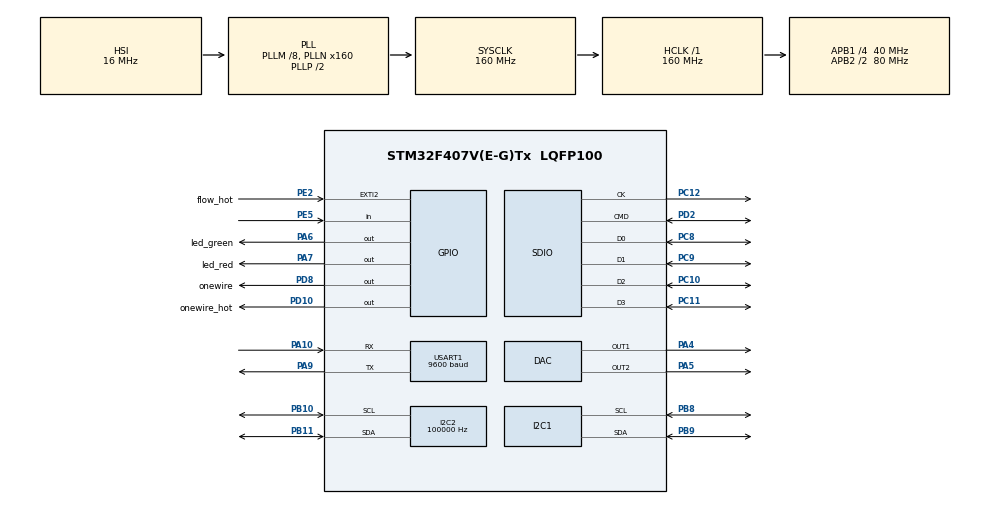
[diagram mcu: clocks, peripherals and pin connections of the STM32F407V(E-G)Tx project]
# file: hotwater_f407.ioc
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ADC1.Channel-0\#ChannelRegularConversion=ADC_CHANNEL_VBAT
ADC1.Channel-1\#ChannelRegularConversion=ADC_CHANNEL_TEMPSENSOR
ADC1.Channel-2\#ChannelRegularConversion=ADC_CHANNEL_VREFINT
ADC1.ContinuousConvMode=ENABLE
ADC1.DMAContinuousRequests=ENABLE
ADC1.EOCSelection=ADC_EOC_SEQ_CONV
ADC1.NbrOfConversion=3
ADC1.NbrOfConversionFlag=1
ADC1.Rank-0\#ChannelRegularConversion=1
ADC1.Rank-1\#ChannelRegularConversion=2
ADC1.Rank-2\#ChannelRegularConversion=3
ADC1.SamplingTime-0\#ChannelRegularConversion=ADC_SAMPLETIME_3CYCLES
ADC1.SamplingTime-1\#ChannelRegularConversion=ADC_SAMPLETIME_3CYCLES
ADC1.SamplingTime-2\#ChannelRegularConversion=ADC_SAMPLETIME_3CYCLES
ADC1.master=1
DAC.DAC_Trigger=DAC_TRIGGER_SOFTWARE
Dma.ADC1.1.Direction=DMA_PERIPH_TO_MEMORY
Dma.ADC1.1.FIFOMode=DMA_FIFOMODE_DISABLE
Dma.ADC1.1.Instance=DMA2_Stream0
Dma.ADC1.1.MemDataAlignment=DMA_MDATAALIGN_HALFWORD
Dma.ADC1.1.MemInc=DMA_MINC_ENABLE
Dma.ADC1.1.Mode=DMA_CIRCULAR
Dma.ADC1.1.PeriphDataAlignment=DMA_PDATAALIGN_HALFWORD
Dma.ADC1.1.PeriphInc=DMA_PINC_DISABLE
Dma.ADC1.1.Priority=DMA_PRIORITY_LOW
Dma.DAC1.0.Direction=DMA_MEMORY_TO_PERIPH
Dma.DAC1.0.FIFOMode=DMA_FIFOMODE_DISABLE
Dma.DAC1.0.Instance=DMA1_Stream5
Dma.DAC1.0.MemDataAlignment=DMA_MDATAALIGN_HALFWORD
Dma.DAC1.0.MemInc=DMA_MINC_ENABLE
Dma.DAC1.0.Mode=DMA_NORMAL
Dma.DAC1.0.PeriphDataAlignment=DMA_PDATAALIGN_HALFWORD
Dma.DAC1.0.PeriphInc=DMA_PINC_DISABLE
Dma.DAC1.0.Priority=DMA_PRIORITY_LOW
Dma.I2C1_RX.2.Direction=DMA_PERIPH_TO_MEMORY
Dma.I2C1_RX.2.FIFOMode=DMA_FIFOMODE_DISABLE
Dma.I2C1_RX.2.Instance=DMA1_Stream0
Dma.I2C1_RX.2.MemDataAlignment=DMA_MDATAALIGN_BYTE
Dma.I2C1_RX.2.MemInc=DMA_MINC_ENABLE
Dma.I2C1_RX.2.Mode=DMA_NORMAL
Dma.I2C1_RX.2.PeriphDataAlignment=DMA_PDATAALIGN_BYTE
Dma.I2C1_RX.2.PeriphInc=DMA_PINC_DISABLE
Dma.I2C1_RX.2.Priority=DMA_PRIORITY_LOW
Dma.I2C1_TX.3.Direction=DMA_MEMORY_TO_PERIPH
Dma.I2C1_TX.3.FIFOMode=DMA_FIFOMODE_DISABLE
Dma.I2C1_TX.3.Instance=DMA1_Stream6
Dma.I2C1_TX.3.MemDataAlignment=DMA_MDATAALIGN_BYTE
Dma.I2C1_TX.3.MemInc=DMA_MINC_ENABLE
Dma.I2C1_TX.3.Mode=DMA_NORMAL
Dma.I2C1_TX.3.PeriphDataAlignment=DMA_PDATAALIGN_BYTE
Dma.I2C1_TX.3.PeriphInc=DMA_PINC_DISABLE
Dma.I2C1_TX.3.Priority=DMA_PRIORITY_LOW
Dma.I2C2_RX.6.Direction=DMA_PERIPH_TO_MEMORY
Dma.I2C2_RX.6.FIFOMode=DMA_FIFOMODE_DISABLE
Dma.I2C2_RX.6.Instance=DMA1_Stream2
Dma.I2C2_RX.6.MemDataAlignment=DMA_MDATAALIGN_BYTE
Dma.I2C2_RX.6.MemInc=DMA_MINC_ENABLE
Dma.I2C2_RX.6.Mode=DMA_NORMAL
Dma.I2C2_RX.6.PeriphDataAlignment=DMA_PDATAALIGN_BYTE
Dma.I2C2_RX.6.PeriphInc=DMA_PINC_DISABLE
Dma.I2C2_RX.6.Priority=DMA_PRIORITY_LOW
Dma.I2C2_TX.7.Direction=DMA_MEMORY_TO_PERIPH
Dma.I2C2_TX.7.FIFOMode=DMA_FIFOMODE_DISABLE
Dma.I2C2_TX.7.Instance=DMA1_Stream7
Dma.I2C2_TX.7.MemDataAlignment=DMA_MDATAALIGN_BYTE
Dma.I2C2_TX.7.MemInc=DMA_MINC_ENABLE
Dma.I2C2_TX.7.Mode=DMA_NORMAL
Dma.I2C2_TX.7.PeriphDataAlignment=DMA_PDATAALIGN_BYTE
Dma.I2C2_TX.7.PeriphInc=DMA_PINC_DISABLE
Dma.I2C2_TX.7.Priority=DMA_PRIORITY_LOW
Dma.Request0=DAC1
Dma.Request1=ADC1
Dma.Request2=I2C1_RX
Dma.Request3=I2C1_TX
Dma.Request4=USART1_RX
Dma.Request5=USART1_TX
Dma.Request6=I2C2_RX
Dma.Request7=I2C2_TX
Dma.Request8=SDIO_RX
Dma.Request9=SDIO_TX
Dma.SDIO_RX.8.Direction=DMA_PERIPH_TO_MEMORY
Dma.SDIO_RX.8.FIFOMode=DMA_FIFOMODE_ENABLE
Dma.SDIO_RX.8.FIFOThreshold=DMA_FIFO_THRESHOLD_FULL
Dma.SDIO_RX.8.Instance=DMA2_Stream3
Dma.SDIO_RX.8.MemBurst=DMA_MBURST_INC4
Dma.SDIO_RX.8.MemDataAlignment=DMA_MDATAALIGN_WORD
Dma.SDIO_RX.8.MemInc=DMA_MINC_ENABLE
Dma.SDIO_RX.8.Mode=DMA_PFCTRL
Dma.SDIO_RX.8.PeriphBurst=DMA_PBURST_INC4
Dma.SDIO_RX.8.PeriphDataAlignment=DMA_PDATAALIGN_WORD
Dma.SDIO_RX.8.PeriphInc=DMA_PINC_DISABLE
Dma.SDIO_RX.8.Priority=DMA_PRIORITY_LOW
Dma.SDIO_TX.9.Direction=DMA_MEMORY_TO_PERIPH
Dma.SDIO_TX.9.FIFOMode=DMA_FIFOMODE_ENABLE
Dma.SDIO_TX.9.FIFOThreshold=DMA_FIFO_THRESHOLD_FULL
Dma.SDIO_TX.9.Instance=DMA2_Stream6
Dma.SDIO_TX.9.MemBurst=DMA_MBURST_INC4
Dma.SDIO_TX.9.MemDataAlignment=DMA_MDATAALIGN_WORD
Dma.SDIO_TX.9.MemInc=DMA_MINC_ENABLE
Dma.SDIO_TX.9.Mode=DMA_PFCTRL
Dma.SDIO_TX.9.PeriphBurst=DMA_PBURST_INC4
Dma.SDIO_TX.9.PeriphDataAlignment=DMA_PDATAALIGN_WORD
Dma.SDIO_TX.9.PeriphInc=DMA_PINC_DISABLE
Dma.SDIO_TX.9.Priority=DMA_PRIORITY_LOW
Dma.USART1_RX.4.Direction=DMA_PERIPH_TO_MEMORY
Dma.USART1_RX.4.FIFOMode=DMA_FIFOMODE_DISABLE
Dma.USART1_RX.4.Instance=DMA2_Stream2
Dma.USART1_RX.4.MemDataAlignment=DMA_MDATAALIGN_BYTE
Dma.USART1_RX.4.MemInc=DMA_MINC_ENABLE
Dma.USART1_RX.4.Mode=DMA_NORMAL
Dma.USART1_RX.4.PeriphDataAlignment=DMA_PDATAALIGN_BYTE
Dma.USART1_RX.4.PeriphInc=DMA_PINC_DISABLE
Dma.USART1_RX.4.Priority=DMA_PRIORITY_LOW
Dma.USART1_TX.5.Direction=DMA_MEMORY_TO_PERIPH
Dma.USART1_TX.5.FIFOMode=DMA_FIFOMODE_DISABLE
Dma.USART1_TX.5.Instance=DMA2_Stream7
Dma.USART1_TX.5.MemDataAlignment=DMA_MDATAALIGN_BYTE
Dma.USART1_TX.5.MemInc=DMA_MINC_ENABLE
Dma.USART1_TX.5.Mode=DMA_NORMAL
Dma.USART1_TX.5.PeriphDataAlignment=DMA_PDATAALIGN_BYTE
Dma.USART1_TX.5.PeriphInc=DMA_PINC_DISABLE
Dma.USART1_TX.5.Priority=DMA_PRIORITY_LOW
FATFS.BSP.number=1
FATFS.USE_DMA_CODE_SD=1
FATFS._MAX_LFN=32
FATFS._USE_LABEL=1
FATFS._USE_LFN=3
FATFS0.BSP.STBoard=false
FATFS0.BSP.api=Unknown
FATFS0.BSP.i2caddr=0
FATFS0.BSP.instance=PE5
FATFS0.BSP.ip=GPIO
FATFS0.BSP.mode=Input
FATFS0.BSP.name=Detect_SDIO
FATFS0.BSP.solution=PE5
FREERTOS.BinarySemaphores01=myFlagNewString,Static,myFlagNewStringControlBlock;myFlagNewEdgeFlowHot,Static,myFlagNewEdgeFlowHotControlBlock
FREERTOS.CountingSemaphores01=myCountNewString,16,Static,myCountNewStringControlBlock;myCountNewCmd,16,Static,myCountNewCmdControlBlock
FREERTOS.Events01=wtfHot,Dynamic,NULL;wtfCold,Dynamic,NULL
FREERTOS.HEAP_NUMBER=4
FREERTOS.Queues01=myTxQueue,1024,uint8_t,0,Static,myTxQueueBuffer,myTxQueueControlBlock;myRxQueue,1024,uint8_t,0,Static,myRxQueueBuffer,myRxQueueControlBlock;myLineObjQueue,16,64,1,Static,myLineObjQueueBuffer,myLineObjQueueControlBlock;myCmdLineObjQueue,16,64,1,Static,myCmdLineObjQueueBuffer,myCmdLineObjQueueControlBlock;myLogLineObjQueue,16,64,1,Static,myLogLineObjQueueBuffer,myLogLineObjQueueControlBlock;mySDwriteBufferLineObjQueue,8,64,1,Static,mySDwriteBufferLineObjQueueBuffer,mySDwriteBufferLineObjQueueControlBlock
FREERTOS.Tasks01=defaultTask,24,512,StartDefaultTask,Default,NULL,Static,defaultTaskBuffer,defaultTaskControlBlock;myRxTask,8,128,StartRxTask,Default,NULL,Static,myRxTaskBuffer,myRxTaskControlBlock;myTxTask,8,128,StartTxTask,Default,NULL,Static,myTxTaskBuffer,myTxTaskControlBlock;myCmdTask,8,512,StartCmdTask,Default,NULL,Static,myCmdTaskBuffer,myCmdTaskControlBlock;myLogUartTask,8,128,StartLogUartTask,Default,NULL,Static,myLogUartTaskBuffer,myLogUartTaskControlBlock;myLogSdTask,8,128,StartLogSdTask,Default,NULL,Static,myLogSdTaskBuffer,myLogSdTaskControlBlock;myFlowHotTask,8,1024,StartFlowHotTask,Default,NULL,Static,myFlowHotTaskBuffer,myFlowHotTaskControlBlock;myFlowColdTask,8,128,StartFlowColdTask,Default,NULL,Static,myFlowColdTaskBuffer,myFlowColdTaskControlBlock
FREERTOS.Timers01=myTimerFlowHot,myCallbackFlowHot,osTimerOnce,Default,NULL,Static,myTimerFlowHotControlBlock
FREERTOS.configCHECK_FOR_STACK_OVERFLOW=2
FREERTOS.configENABLE_FPU=1
FREERTOS.configGENERATE_RUN_TIME_STATS=1
FREERTOS.configRECORD_STACK_HIGH_ADDRESS=1
FREERTOS.configUSE_APPLICATION_TASK_TAG=1
FREERTOS.configUSE_DAEMON_TASK_STARTUP_HOOK=1
FREERTOS.configUSE_IDLE_HOOK=1
FREERTOS.configUSE_MALLOC_FAILED_HOOK=1
FREERTOS.configUSE_POSIX_ERRNO=1
FREERTOS.configUSE_STATS_FORMATTING_FUNCTIONS=1
FREERTOS.configUSE_TICKLESS_IDLE=0
FREERTOS.configUSE_TICK_HOOK=1
I2C1.I2C_Mode=I2C_Standard
I2C2.ClockSpeed=100000
I2C2.I2C_Mode=I2C_Standard
Mcu.Family=STM32F4
Mcu.Name=STM32F407V(E-G)Tx
Mcu.Package=LQFP100
NVIC.ADC_IRQn=true\:5\:0\:false\:false\:true\:true\:true\:true
NVIC.DMA1_Stream0_IRQn=true\:5\:0\:false\:false\:true\:true\:false\:true
NVIC.DMA1_Stream2_IRQn=true\:5\:0\:false\:false\:true\:true\:false\:true
NVIC.DMA1_Stream5_IRQn=true\:5\:0\:false\:false\:true\:true\:false\:true
NVIC.DMA1_Stream6_IRQn=true\:5\:0\:false\:false\:true\:true\:false\:true
NVIC.DMA1_Stream7_IRQn=true\:5\:0\:false\:false\:true\:true\:false\:true
NVIC.DMA2_Stream0_IRQn=true\:5\:0\:false\:false\:true\:true\:false\:true
NVIC.DMA2_Stream2_IRQn=true\:5\:0\:false\:false\:true\:true\:false\:true
NVIC.DMA2_Stream3_IRQn=true\:5\:0\:false\:false\:true\:true\:false\:true
NVIC.DMA2_Stream6_IRQn=true\:5\:0\:false\:false\:true\:true\:false\:true
NVIC.DMA2_Stream7_IRQn=true\:5\:0\:false\:false\:true\:true\:false\:true
NVIC.EXTI2_IRQn=true\:5\:0\:false\:false\:true\:true\:true\:true
NVIC.I2C1_ER_IRQn=true\:5\:0\:false\:false\:true\:true\:true\:true
NVIC.I2C1_EV_IRQn=true\:5\:0\:false\:false\:true\:true\:true\:true
NVIC.I2C2_ER_IRQn=true\:5\:0\:false\:false\:true\:true\:true\:true
NVIC.I2C2_EV_IRQn=true\:5\:0\:false\:false\:true\:true\:true\:true
NVIC.PriorityGroup=NVIC_PRIORITYGROUP_4
NVIC.SDIO_IRQn=true\:5\:0\:false\:false\:true\:true\:true\:true
NVIC.TIM1_UP_TIM10_IRQn=true\:0\:0\:false\:false\:true\:false\:false\:true
NVIC.TIM6_DAC_IRQn=true\:5\:0\:false\:false\:true\:true\:true\:true
NVIC.TimeBase=TIM1_UP_TIM10_IRQn
NVIC.TimeBaseIP=TIM1
NVIC.USART1_IRQn=true\:5\:0\:false\:false\:true\:true\:true\:true
PA10.Mode=Asynchronous
PA10.Signal=USART1_RX
PA13.Mode=Serial_Wire
PA13.Signal=SYS_JTMS-SWDIO
PA14.Mode=Serial_Wire
PA14.Signal=SYS_JTCK-SWCLK
PA4.Signal=COMP_DAC1_group
PA5.Signal=COMP_DAC2_group
PA6.GPIO_Label=led_green
PA6.GPIO_ModeDefaultOutputPP=GPIO_MODE_OUTPUT_OD
PA6.Signal=GPIO_Output
PA7.GPIO_Label=led_red
PA7.GPIO_ModeDefaultOutputPP=GPIO_MODE_OUTPUT_OD
PA7.Signal=GPIO_Output
PA9.Mode=Asynchronous
PA9.Signal=USART1_TX
PB10.Mode=I2C
PB10.Signal=I2C2_SCL
PB11.Mode=I2C
PB11.Signal=I2C2_SDA
PB8.GPIO_PuPdOD=GPIO_NOPULL
PB8.GPIO_Speed=GPIO_SPEED_FREQ_LOW
PB8.Mode=I2C
PB8.Signal=I2C1_SCL
PB9.GPIO_PuPdOD=GPIO_NOPULL
PB9.GPIO_Speed=GPIO_SPEED_FREQ_LOW
PB9.Mode=I2C
PB9.Signal=I2C1_SDA
PC10.Mode=SD_4_bits_Wide_bus
PC10.Signal=SDIO_D2
PC11.Mode=SD_4_bits_Wide_bus
PC11.Signal=SDIO_D3
PC12.Mode=SD_4_bits_Wide_bus
PC12.Signal=SDIO_CK
PC14-OSC32_IN.Mode=LSE-External-Oscillator
PC14-OSC32_IN.Signal=RCC_OSC32_IN
PC15-OSC32_OUT.Mode=LSE-External-Oscillator
PC15-OSC32_OUT.Signal=RCC_OSC32_OUT
PC8.Mode=SD_4_bits_Wide_bus
PC8.Signal=SDIO_D0
PC9.Mode=SD_4_bits_Wide_bus
PC9.Signal=SDIO_D1
PD10.GPIO_Label=onewire_hot
PD10.GPIO_ModeDefaultOutputPP=GPIO_MODE_OUTPUT_OD
PD10.Signal=GPIO_Output
PD2.Mode=SD_4_bits_Wide_bus
PD2.Signal=SDIO_CMD
PD8.GPIO_Label=onewire
PD8.GPIO_ModeDefaultOutputPP=GPIO_MODE_OUTPUT_OD
PD8.GPIO_Speed=GPIO_SPEED_FREQ_LOW
PD8.Signal=GPIO_Output
PE2.GPIO_Label=flow_hot
PE2.Signal=GPXTI2
PE5.Signal=GPIO_Input
PH0-OSC_IN.Mode=HSE-External-Oscillator
PH0-OSC_IN.Signal=RCC_OSC_IN
PH1-OSC_OUT.Mode=HSE-External-Oscillator
PH1-OSC_OUT.Signal=RCC_OSC_OUT
ProjectManager.HeapSize=0x8000
ProjectManager.StackSize=0x400
ProjectManager.TargetToolchain=STM32CubeIDE
RCC.48MHZClocksFreq_Value=45714285.71428572
RCC.AHBFreq_Value=160000000
RCC.APB1CLKDivider=RCC_HCLK_DIV4
RCC.APB1Freq_Value=40000000
RCC.APB1TimFreq_Value=80000000
RCC.APB2CLKDivider=RCC_HCLK_DIV2
RCC.APB2Freq_Value=80000000
RCC.APB2TimFreq_Value=160000000
RCC.CortexFreq_Value=160000000
RCC.HCLKFreq_Value=160000000
RCC.HSE_VALUE=8000000
RCC.HSI_VALUE=16000000
RCC.PLLM=8
RCC.PLLN=160
RCC.PLLQ=7
RCC.RCC_RTC_Clock_Source=RCC_RTCCLKSOURCE_LSE
RCC.RCC_RTC_Clock_SourceVirtual=RCC_RTCCLKSOURCE_LSE
RCC.SYSCLKFreq_VALUE=160000000
RCC.SYSCLKSource=RCC_SYSCLKSOURCE_PLLCLK
RCC.VCOOutputFreq_Value=320000000
RTC.Date=15
RTC.Format=RTC_FORMAT_BIN
RTC.Hours=19
RTC.Minutes=16
RTC.Month=RTC_MONTH_NOVEMBER
RTC.WeekDay=RTC_WEEKDAY_SUNDAY
RTC.Year=20
SDIO.ClockDiv=0
SDIO.HardwareFlowControl=SDIO_HARDWARE_FLOW_CONTROL_DISABLE
SH.COMP_DAC1_group.0=DAC_OUT1,DAC_OUT1
SH.COMP_DAC2_group.0=DAC_OUT2,DAC_OUT2
TIM2.AutoReloadPreload=TIM_AUTORELOAD_PRELOAD_ENABLE
TIM6.AutoReloadPreload=TIM_AUTORELOAD_PRELOAD_ENABLE
TIM6.Period=0xFFFF
TIM6.Prescaler=256
TIM6.TIM_MasterOutputTrigger=TIM_TRGO_UPDATE
USART1.BaudRate=9600
USART1.VirtualMode=VM_ASYNC
VP_ADC1_TempSens_Input.Mode=IN-TempSens
VP_ADC1_Vbat_Input.Mode=IN-Vbat
VP_ADC1_Vref_Input.Mode=IN-Vrefint
VP_FATFS_VS_SDIO.Mode=SDIO
VP_FREERTOS_VS_CMSIS_V2.Mode=CMSIS_V2
VP_RTC_VS_RTC_Activate.Mode=RTC_Enabled
VP_RTC_VS_RTC_Calendar.Mode=RTC_Calendar
VP_SYS_VS_tim1.Mode=TIM1
VP_TIM2_VS_ClockSourceINT.Mode=Internal
VP_TIM6_VS_ClockSourceINT.Mode=Enable_Timer
board=custom

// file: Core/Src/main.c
/* USER CODE BEGIN Header */
/**
  ******************************************************************************
  * @file           : main.c
  * @brief          : Main program body
  ******************************************************************************
  * @attention
  *
  * <h2><center>&copy; Copyright (c) 2021 STMicroelectronics.
  * All rights reserved.</center></h2>
  *
  * This software component is licensed by ST under Ultimate Liberty license
  * SLA0044, the "License"; You may not use this file except in compliance with
  * the License. You may obtain a copy of the License at:
  *                             www.st.com/SLA0044
  *
  ******************************************************************************
  */
/* USER CODE END Header */
#include "main.h"
#include "cmsis_os.h"
#include "adc.h"
#include "dac.h"
#include "dma.h"
#include "fatfs.h"
#include "i2c.h"
#include "rtc.h"
#include "sdio.h"
#include "tim.h"
#include "usart.h"
#include "gpio.h"

/* USER CODE BEGIN Includes */
#include "newCmdOrder.h"
/* USER CODE END Includes */

void SystemClock_Config(void);
void MX_FREERTOS_Init(void);

int main(void)
{

  /* MCU Configuration--------------------------------------------------------*/

  /* Reset of all peripherals, Initializes the Flash interface and the Systick. */
  HAL_Init();

  /* Configure the system clock */
  SystemClock_Config();

  /* Initialize all configured peripherals */
  MX_GPIO_Init();
  MX_DMA_Init();
  MX_RTC_Init();
  MX_SDIO_SD_Init();
  MX_TIM6_Init();
  MX_USART1_UART_Init();
  MX_DAC_Init();
  MX_TIM2_Init();
  MX_I2C1_Init();
  MX_ADC1_Init();
  MX_I2C2_Init();
  MX_FATFS_Init();
  /* USER CODE BEGIN 2 */

  cmd_init_callbacks();
  /* USER CODE END 2 */

  /* Init scheduler */
  osKernelInitialize();  /* Call init function for freertos objects (in freertos.c) */
  MX_FREERTOS_Init();
  /* Start scheduler */
  osKernelStart();

  /* We should never get here as control is now taken by the scheduler */
  /* Infinite loop */
  while (1)
  {

  }
}

void SystemClock_Config(void)
{
  RCC_OscInitTypeDef RCC_OscInitStruct = {0};
  RCC_ClkInitTypeDef RCC_ClkInitStruct = {0};
  RCC_PeriphCLKInitTypeDef PeriphClkInitStruct = {0};

  /** Configure the main internal regulator output voltage
  */
  __HAL_RCC_PWR_CLK_ENABLE();
  __HAL_PWR_VOLTAGESCALING_CONFIG(PWR_REGULATOR_VOLTAGE_SCALE1);
  /** Initializes the RCC Oscillators according to the specified parameters
  * in the RCC_OscInitTypeDef structure.
  */
  RCC_OscInitStruct.OscillatorType = RCC_OSCILLATORTYPE_HSI|RCC_OSCILLATORTYPE_LSE;
  RCC_OscInitStruct.LSEState = RCC_LSE_ON;
  RCC_OscInitStruct.HSIState = RCC_HSI_ON;
  RCC_OscInitStruct.HSICalibrationValue = RCC_HSICALIBRATION_DEFAULT;
  RCC_OscInitStruct.PLL.PLLState = RCC_PLL_ON;
  RCC_OscInitStruct.PLL.PLLSource = RCC_PLLSOURCE_HSI;
  RCC_OscInitStruct.PLL.PLLM = 8;
  RCC_OscInitStruct.PLL.PLLN = 160;
  RCC_OscInitStruct.PLL.PLLP = RCC_PLLP_DIV2;
  RCC_OscInitStruct.PLL.PLLQ = 7;
  if (HAL_RCC_OscConfig(&RCC_OscInitStruct) != HAL_OK)
  {
    Error_Handler();
  }
  /** Initializes the CPU, AHB and APB buses clocks
  */
  RCC_ClkInitStruct.ClockType = RCC_CLOCKTYPE_HCLK|RCC_CLOCKTYPE_SYSCLK
                              |RCC_CLOCKTYPE_PCLK1|RCC_CLOCKTYPE_PCLK2;
  RCC_ClkInitStruct.SYSCLKSource = RCC_SYSCLKSOURCE_PLLCLK;
  RCC_ClkInitStruct.AHBCLKDivider = RCC_SYSCLK_DIV1;
  RCC_ClkInitStruct.APB1CLKDivider = RCC_HCLK_DIV4;
  RCC_ClkInitStruct.APB2CLKDivider = RCC_HCLK_DIV2;

  if (HAL_RCC_ClockConfig(&RCC_ClkInitStruct, FLASH_LATENCY_5) != HAL_OK)
  {
    Error_Handler();
  }
  PeriphClkInitStruct.PeriphClockSelection = RCC_PERIPHCLK_RTC;
  PeriphClkInitStruct.RTCClockSelection = RCC_RTCCLKSOURCE_LSE;
  if (HAL_RCCEx_PeriphCLKConfig(&PeriphClkInitStruct) != HAL_OK)
  {
    Error_Handler();
  }
}

 /**
  * @brief  Period elapsed callback in non blocking mode
  * @note   This function is called  when TIM1 interrupt took place, inside
  * HAL_TIM_IRQHandler(). It makes a direct call to HAL_IncTick() to increment
  * a global variable "uwTick" used as application time base.
  * @param  htim : TIM handle
  * @retval None
  */
void HAL_TIM_PeriodElapsedCallback(TIM_HandleTypeDef *htim)
{
  if (htim->Instance == TIM1) {
    HAL_IncTick();
  }
}

void Error_Handler(void)
{
  __disable_irq();
  while (1)
  {
  }
}

/************************ (C) COPYRIGHT STMicroelectronics *****END OF FILE****/

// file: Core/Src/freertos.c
/* USER CODE BEGIN Header */
/**
 ******************************************************************************
 * File Name          : freertos.c
 * Description        : Code for freertos applications
 ******************************************************************************
 * @attention
 *
 * <h2><center>&copy; Copyright (c) 2021 STMicroelectronics.
 * All rights reserved.</center></h2>
 *
 * This software component is licensed by ST under Ultimate Liberty license
 * SLA0044, the "License"; You may not use this file except in compliance with
 * the License. You may obtain a copy of the License at:
 *                             www.st.com/SLA0044
 *
 ******************************************************************************
 */
/* USER CODE END Header */

#include "FreeRTOS.h"
#include "task.h"
#include "main.h"
#include "cmsis_os.h"

/* USER CODE BEGIN Includes */
#include "terminal.h"
#include "queue.h"
#include "semphr.h"
#include "string.h"
#include "flowmeter.h"
#include "utils.h"
/* USER CODE END Includes */

typedef StaticTask_t osStaticThreadDef_t;
typedef StaticQueue_t osStaticMessageQDef_t;
typedef StaticTimer_t osStaticTimerDef_t;
typedef StaticSemaphore_t osStaticSemaphoreDef_t;
/* USER CODE BEGIN PTD */
extern void term_lol_sendQueue(osMessageQueueId_t myTxQueueHandle);
/* USER CODE END PTD */

/* USER CODE BEGIN Variables */
uint8_t lReceivedValue[1];
/* USER CODE END Variables */
/* Definitions for defaultTask */
osThreadId_t defaultTaskHandle;
uint32_t defaultTaskBuffer[ 512 ];
osStaticThreadDef_t defaultTaskControlBlock;
const osThreadAttr_t defaultTask_attributes = {
  .name = "defaultTask",
  .stack_mem = &defaultTaskBuffer[0],
  .stack_size = sizeof(defaultTaskBuffer),
  .cb_mem = &defaultTaskControlBlock,
  .cb_size = sizeof(defaultTaskControlBlock),
  .priority = (osPriority_t) osPriorityNormal,
};
/* Definitions for myRxTask */
osThreadId_t myRxTaskHandle;
uint32_t myRxTaskBuffer[ 128 ];
osStaticThreadDef_t myRxTaskControlBlock;
const osThreadAttr_t myRxTask_attributes = {
  .name = "myRxTask",
  .stack_mem = &myRxTaskBuffer[0],
  .stack_size = sizeof(myRxTaskBuffer),
  .cb_mem = &myRxTaskControlBlock,
  .cb_size = sizeof(myRxTaskControlBlock),
  .priority = (osPriority_t) osPriorityLow,
};
/* Definitions for myTxTask */
osThreadId_t myTxTaskHandle;
uint32_t myTxTaskBuffer[ 128 ];
osStaticThreadDef_t myTxTaskControlBlock;
const osThreadAttr_t myTxTask_attributes = {
  .name = "myTxTask",
  .stack_mem = &myTxTaskBuffer[0],
  .stack_size = sizeof(myTxTaskBuffer),
  .cb_mem = &myTxTaskControlBlock,
  .cb_size = sizeof(myTxTaskControlBlock),
  .priority = (osPriority_t) osPriorityLow,
};
/* Definitions for myCmdTask */
osThreadId_t myCmdTaskHandle;
uint32_t myCmdTaskBuffer[ 512 ];
osStaticThreadDef_t myCmdTaskControlBlock;
const osThreadAttr_t myCmdTask_attributes = {
  .name = "myCmdTask",
  .stack_mem = &myCmdTaskBuffer[0],
  .stack_size = sizeof(myCmdTaskBuffer),
  .cb_mem = &myCmdTaskControlBlock,
  .cb_size = sizeof(myCmdTaskControlBlock),
  .priority = (osPriority_t) osPriorityLow,
};
/* Definitions for myLogUartTask */
osThreadId_t myLogUartTaskHandle;
uint32_t myLogUartTaskBuffer[ 128 ];
osStaticThreadDef_t myLogUartTaskControlBlock;
const osThreadAttr_t myLogUartTask_attributes = {
  .name = "myLogUartTask",
  .stack_mem = &myLogUartTaskBuffer[0],
  .stack_size = sizeof(myLogUartTaskBuffer),
  .cb_mem = &myLogUartTaskControlBlock,
  .cb_size = sizeof(myLogUartTaskControlBlock),
  .priority = (osPriority_t) osPriorityLow,
};
/* Definitions for myLogSdTask */
osThreadId_t myLogSdTaskHandle;
uint32_t myLogSdTaskBuffer[ 128 ];
osStaticThreadDef_t myLogSdTaskControlBlock;
const osThreadAttr_t myLogSdTask_attributes = {
  .name = "myLogSdTask",
  .stack_mem = &myLogSdTaskBuffer[0],
  .stack_size = sizeof(myLogSdTaskBuffer),
  .cb_mem = &myLogSdTaskControlBlock,
  .cb_size = sizeof(myLogSdTaskControlBlock),
  .priority = (osPriority_t) osPriorityLow,
};
/* Definitions for myFlowHotTask */
osThreadId_t myFlowHotTaskHandle;
uint32_t myFlowHotTaskBuffer[ 1024 ];
osStaticThreadDef_t myFlowHotTaskControlBlock;
const osThreadAttr_t myFlowHotTask_attributes = {
  .name = "myFlowHotTask",
  .stack_mem = &myFlowHotTaskBuffer[0],
  .stack_size = sizeof(myFlowHotTaskBuffer),
  .cb_mem = &myFlowHotTaskControlBlock,
  .cb_size = sizeof(myFlowHotTaskControlBlock),
  .priority = (osPriority_t) osPriorityLow,
};
/* Definitions for myFlowColdTask */
osThreadId_t myFlowColdTaskHandle;
uint32_t myFlowColdTaskBuffer[ 128 ];
osStaticThreadDef_t myFlowColdTaskControlBlock;
const osThreadAttr_t myFlowColdTask_attributes = {
  .name = "myFlowColdTask",
  .stack_mem = &myFlowColdTaskBuffer[0],
  .stack_size = sizeof(myFlowColdTaskBuffer),
  .cb_mem = &myFlowColdTaskControlBlock,
  .cb_size = sizeof(myFlowColdTaskControlBlock),
  .priority = (osPriority_t) osPriorityLow,
};
/* Definitions for myTxQueue */
osMessageQueueId_t myTxQueueHandle;
uint8_t myTxQueueBuffer[ 1024 * sizeof( uint8_t ) ];
osStaticMessageQDef_t myTxQueueControlBlock;
const osMessageQueueAttr_t myTxQueue_attributes = {
  .name = "myTxQueue",
  .cb_mem = &myTxQueueControlBlock,
  .cb_size = sizeof(myTxQueueControlBlock),
  .mq_mem = &myTxQueueBuffer,
  .mq_size = sizeof(myTxQueueBuffer)
};
/* Definitions for myRxQueue */
osMessageQueueId_t myRxQueueHandle;
uint8_t myRxQueueBuffer[ 1024 * sizeof( uint8_t ) ];
osStaticMessageQDef_t myRxQueueControlBlock;
const osMessageQueueAttr_t myRxQueue_attributes = {
  .name = "myRxQueue",
  .cb_mem = &myRxQueueControlBlock,
  .cb_size = sizeof(myRxQueueControlBlock),
  .mq_mem = &myRxQueueBuffer,
  .mq_size = sizeof(myRxQueueBuffer)
};
/* Definitions for myLineObjQueue */
osMessageQueueId_t myLineObjQueueHandle;
uint8_t myLineObjQueueBuffer[ 16 * 64 ];
osStaticMessageQDef_t myLineObjQueueControlBlock;
const osMessageQueueAttr_t myLineObjQueue_attributes = {
  .name = "myLineObjQueue",
  .cb_mem = &myLineObjQueueControlBlock,
  .cb_size = sizeof(myLineObjQueueControlBlock),
  .mq_mem = &myLineObjQueueBuffer,
  .mq_size = sizeof(myLineObjQueueBuffer)
};
/* Definitions for myCmdLineObjQueue */
osMessageQueueId_t myCmdLineObjQueueHandle;
uint8_t myCmdLineObjQueueBuffer[ 16 * 64 ];
osStaticMessageQDef_t myCmdLineObjQueueControlBlock;
const osMessageQueueAttr_t myCmdLineObjQueue_attributes = {
  .name = "myCmdLineObjQueue",
  .cb_mem = &myCmdLineObjQueueControlBlock,
  .cb_size = sizeof(myCmdLineObjQueueControlBlock),
  .mq_mem = &myCmdLineObjQueueBuffer,
  .mq_size = sizeof(myCmdLineObjQueueBuffer)
};
/* Definitions for myLogLineObjQueue */
osMessageQueueId_t myLogLineObjQueueHandle;
uint8_t myLogLineObjQueueBuffer[ 16 * 64 ];
osStaticMessageQDef_t myLogLineObjQueueControlBlock;
const osMessageQueueAttr_t myLogLineObjQueue_attributes = {
  .name = "myLogLineObjQueue",
  .cb_mem = &myLogLineObjQueueControlBlock,
  .cb_size = sizeof(myLogLineObjQueueControlBlock),
  .mq_mem = &myLogLineObjQueueBuffer,
  .mq_size = sizeof(myLogLineObjQueueBuffer)
};
/* Definitions for mySDwriteBufferLineObjQueue */
osMessageQueueId_t mySDwriteBufferLineObjQueueHandle;
uint8_t mySDwriteBufferLineObjQueueBuffer[ 8 * 64 ];
osStaticMessageQDef_t mySDwriteBufferLineObjQueueControlBlock;
const osMessageQueueAttr_t mySDwriteBufferLineObjQueue_attributes = {
  .name = "mySDwriteBufferLineObjQueue",
  .cb_mem = &mySDwriteBufferLineObjQueueControlBlock,
  .cb_size = sizeof(mySDwriteBufferLineObjQueueControlBlock),
  .mq_mem = &mySDwriteBufferLineObjQueueBuffer,
  .mq_size = sizeof(mySDwriteBufferLineObjQueueBuffer)
};
/* Definitions for myTimerFlowHot */
osTimerId_t myTimerFlowHotHandle;
osStaticTimerDef_t myTimerFlowHotControlBlock;
const osTimerAttr_t myTimerFlowHot_attributes = {
  .name = "myTimerFlowHot",
  .cb_mem = &myTimerFlowHotControlBlock,
  .cb_size = sizeof(myTimerFlowHotControlBlock),
};
/* Definitions for myFlagNewString */
osSemaphoreId_t myFlagNewStringHandle;
osStaticSemaphoreDef_t myFlagNewStringControlBlock;
const osSemaphoreAttr_t myFlagNewString_attributes = {
  .name = "myFlagNewString",
  .cb_mem = &myFlagNewStringControlBlock,
  .cb_size = sizeof(myFlagNewStringControlBlock),
};
/* Definitions for myFlagNewEdgeFlowHot */
osSemaphoreId_t myFlagNewEdgeFlowHotHandle;
osStaticSemaphoreDef_t myFlagNewEdgeFlowHotControlBlock;
const osSemaphoreAttr_t myFlagNewEdgeFlowHot_attributes = {
  .name = "myFlagNewEdgeFlowHot",
  .cb_mem = &myFlagNewEdgeFlowHotControlBlock,
  .cb_size = sizeof(myFlagNewEdgeFlowHotControlBlock),
};
/* Definitions for myCountNewString */
osSemaphoreId_t myCountNewStringHandle;
osStaticSemaphoreDef_t myCountNewStringControlBlock;
const osSemaphoreAttr_t myCountNewString_attributes = {
  .name = "myCountNewString",
  .cb_mem = &myCountNewStringControlBlock,
  .cb_size = sizeof(myCountNewStringControlBlock),
};
/* Definitions for myCountNewCmd */
osSemaphoreId_t myCountNewCmdHandle;
osStaticSemaphoreDef_t myCountNewCmdControlBlock;
const osSemaphoreAttr_t myCountNewCmd_attributes = {
  .name = "myCountNewCmd",
  .cb_mem = &myCountNewCmdControlBlock,
  .cb_size = sizeof(myCountNewCmdControlBlock),
};
/* Definitions for wtfHot */
osEventFlagsId_t wtfHotHandle;
const osEventFlagsAttr_t wtfHot_attributes = {
  .name = "wtfHot"
};
/* Definitions for wtfCold */
osEventFlagsId_t wtfColdHandle;
const osEventFlagsAttr_t wtfCold_attributes = {
  .name = "wtfCold"
};

void StartDefaultTask(void *argument);
void StartRxTask(void *argument);
void StartTxTask(void *argument);
void StartCmdTask(void *argument);
void StartLogUartTask(void *argument);
void StartLogSdTask(void *argument);
void StartFlowHotTask(void *argument);
void StartFlowColdTask(void *argument);
void myCallbackFlowHot(void *argument);

void MX_FREERTOS_Init(void); /* (MISRA C 2004 rule 8.1) */

/* Hook prototypes */
void configureTimerForRunTimeStats(void);
unsigned long getRunTimeCounterValue(void);
void vApplicationIdleHook(void);
void vApplicationTickHook(void);
void vApplicationStackOverflowHook(xTaskHandle xTask, signed char *pcTaskName);
void vApplicationMallocFailedHook(void);
void vApplicationDaemonTaskStartupHook(void);

/* USER CODE BEGIN 1 */
/* Functions needed when configGENERATE_RUN_TIME_STATS is on */
__weak void configureTimerForRunTimeStats(void)
    {

    }

__weak unsigned long getRunTimeCounterValue(void)
    {
    return 0;
    }
/* USER CODE END 1 */

/* USER CODE BEGIN 2 */
void vApplicationIdleHook(void)
    {
    /* vApplicationIdleHook() will only be called if configUSE_IDLE_HOOK is set
     to 1 in FreeRTOSConfig.h. It will be called on each iteration of the idle
     task. It is essential that code added to this hook function never attempts
     to block in any way (for example, call xQueueReceive() with a block time
     specified, or call vTaskDelay()). If the application makes use of the
     vTaskDelete() API function (as this demo application does) then it is also
     important that vApplicationIdleHook() is permitted to return to its calling
     function, because it is the responsibility of the idle task to clean up
     memory allocated by the kernel to any task that has since been deleted. */
    }
/* USER CODE END 2 */

/* USER CODE BEGIN 3 */
void vApplicationTickHook(void)
    {
    /* This function will be called by each tick interrupt if
     configUSE_TICK_HOOK is set to 1 in FreeRTOSConfig.h. User code can be
     added here, but the tick hook is called from an interrupt context, so
     code must not attempt to block, and only the interrupt safe FreeRTOS API
     functions can be used (those that end in FromISR()). */
    }
/* USER CODE END 3 */

/* USER CODE BEGIN 4 */
void vApplicationStackOverflowHook(xTaskHandle xTask, signed char *pcTaskName)
    {
    /* Run time stack overflow checking is performed if
     configCHECK_FOR_STACK_OVERFLOW is defined to 1 or 2. This hook function is
     called if a stack overflow is detected. */
    }
/* USER CODE END 4 */

/* USER CODE BEGIN 5 */
void vApplicationMallocFailedHook(void)
    {
    /* vApplicationMallocFailedHook() will only be called if
     configUSE_MALLOC_FAILED_HOOK is set to 1 in FreeRTOSConfig.h. It is a hook
     function that will get called if a call to pvPortMalloc() fails.
     pvPortMalloc() is called internally by the kernel whenever a task, queue,
     timer or semaphore is created. It is also called by various parts of the
     demo application. If heap_1.c or heap_2.c are used, then the size of the
     heap available to pvPortMalloc() is defined by configTOTAL_HEAP_SIZE in
     FreeRTOSConfig.h, and the xPortGetFreeHeapSize() API function can be used
     to query the size of free heap space that remains (although it does not
     provide information on how the remaining heap might be fragmented). */
    }
/* USER CODE END 5 */

/* USER CODE BEGIN DAEMON_TASK_STARTUP_HOOK */
void vApplicationDaemonTaskStartupHook(void)
    {
    }
/* USER CODE END DAEMON_TASK_STARTUP_HOOK */

void MX_FREERTOS_Init(void) {

  /* Create the semaphores(s) */
  /* creation of myFlagNewString */
  myFlagNewStringHandle = osSemaphoreNew(1, 1, &myFlagNewString_attributes);

  /* creation of myFlagNewEdgeFlowHot */
  myFlagNewEdgeFlowHotHandle = osSemaphoreNew(1, 1, &myFlagNewEdgeFlowHot_attributes);

  /* creation of myCountNewString */
  myCountNewStringHandle = osSemaphoreNew(16, 16, &myCountNewString_attributes);

  /* creation of myCountNewCmd */
  myCountNewCmdHandle = osSemaphoreNew(16, 16, &myCountNewCmd_attributes);

  /* Create the timer(s) */
  /* creation of myTimerFlowHot */
  myTimerFlowHotHandle = osTimerNew(myCallbackFlowHot, osTimerOnce, NULL, &myTimerFlowHot_attributes);

  /* Create the queue(s) */
  /* creation of myTxQueue */
  myTxQueueHandle = osMessageQueueNew (1024, sizeof(uint8_t), &myTxQueue_attributes);

  /* creation of myRxQueue */
  myRxQueueHandle = osMessageQueueNew (1024, sizeof(uint8_t), &myRxQueue_attributes);

  /* creation of myLineObjQueue */
  myLineObjQueueHandle = osMessageQueueNew (16, 64, &myLineObjQueue_attributes);

  /* creation of myCmdLineObjQueue */
  myCmdLineObjQueueHandle = osMessageQueueNew (16, 64, &myCmdLineObjQueue_attributes);

  /* creation of myLogLineObjQueue */
  myLogLineObjQueueHandle = osMessageQueueNew (16, 64, &myLogLineObjQueue_attributes);

  /* creation of mySDwriteBufferLineObjQueue */
  mySDwriteBufferLineObjQueueHandle = osMessageQueueNew (8, 64, &mySDwriteBufferLineObjQueue_attributes);

  /* Create the thread(s) */
  /* creation of defaultTask */
  defaultTaskHandle = osThreadNew(StartDefaultTask, NULL, &defaultTask_attributes);

  /* creation of myRxTask */
  myRxTaskHandle = osThreadNew(StartRxTask, NULL, &myRxTask_attributes);

  /* creation of myTxTask */
  myTxTaskHandle = osThreadNew(StartTxTask, NULL, &myTxTask_attributes);

  /* creation of myCmdTask */
  myCmdTaskHandle = osThreadNew(StartCmdTask, NULL, &myCmdTask_attributes);

  /* creation of myLogUartTask */
  myLogUartTaskHandle = osThreadNew(StartLogUartTask, NULL, &myLogUartTask_attributes);

  /* creation of myLogSdTask */
  myLogSdTaskHandle = osThreadNew(StartLogSdTask, NULL, &myLogSdTask_attributes);

  /* creation of myFlowHotTask */
  myFlowHotTaskHandle = osThreadNew(StartFlowHotTask, NULL, &myFlowHotTask_attributes);

  /* creation of myFlowColdTask */
  myFlowColdTaskHandle = osThreadNew(StartFlowColdTask, NULL, &myFlowColdTask_attributes);

  /* Create the event(s) */
  /* creation of wtfHot */
  wtfHotHandle = osEventFlagsNew(&wtfHot_attributes);

  /* creation of wtfCold */
  wtfColdHandle = osEventFlagsNew(&wtfCold_attributes);

}

void StartDefaultTask(void *argument)
{
  /* USER CODE BEGIN StartDefaultTask */
    /* Infinite loop*/
    for (;;)
	{
//	qprintf(myTxQueueHandle, "asdf");
	osDelay(100);
	 HAL_UART_Receive_DMA(&huart1, (uint8_t*) &readbyte, 1);
/*
 *
	int tdsize = sizeof(TD_LINEOBJ);
	TD_LINEOBJ oneline;
	TD_LINEOBJ loadline;
	tdsize = sizeof(oneline);

	term_makeLineObj(&oneline,"cmd","setdate 9 12 80",0,0,0,0);	//not used

	term_lol_StorLineObj(myLineObjQueueHandle, &oneline);//xQueueSend(myLineObjQueueHandle, &oneline, 10);

	term_lol_LoadLineObj(myLineObjQueueHandle, &loadline);//xQueueReceive(myLineObjQueueHandle, &loadline,  ( portTickType ) 10);

	term_vprintLineObj(myTxQueueHandle, &loadline);
 */

//

	}
  /* USER CODE END StartDefaultTask */
}

void StartRxTask(void *argument)
{
  /* USER CODE BEGIN StartRxTask */

    BaseType_t xStatus;
    /* Infinite loop */
    for (;;)
	{
	if( xSemaphoreTake( myFlagNewStringHandle, 0)==pdPASS)
	     {
	    int ItemsLeft = uxQueueMessagesWaiting( myRxQueueHandle);

	    if (ItemsLeft)
		{
		TD_LINEOBJ lobj;
		char rxbuff[ ItemsLeft];

		memset(rxbuff,'\0',ItemsLeft);

		for (int var = 0; var < ItemsLeft; ++var)
		    {
		    uint8_t pvBuffer=0;

		    xQueueReceive( myRxQueueHandle, &pvBuffer, 0);

		    rxbuff[ var ] = pvBuffer;

		    }
		rxbuff[ ItemsLeft-1 ] = '\0';

		dbase_Make( &lobj, strdup("cmd"), strdup(rxbuff), 0, 0, 0, 0);

		xStatus = dBase_StoreQueue( myCmdLineObjQueueHandle, &lobj );

		xSemaphoreGive(myCountNewCmdHandle);

		}
	    }

	osDelay(1);
	}
    //
  /* USER CODE END StartRxTask */
}

void StartTxTask(void *argument)
{
  /* USER CODE BEGIN StartTxTask */

    /* Infinite loop */
    for (;;)

	{
	//term_lol_sendQueue(myTxQueueHandle);
	osStatus val;

	//uint8_t lReceivedValue=0;

	val = osMessageQueueGet(myTxQueueHandle, &lReceivedValue, 0, 0);

	switch (val)
	    {
	    case osOK:	HAL_UART_Transmit(&huart1, lReceivedValue, 1, 199);
	    }

	//xQueueReceive(myTxQueueHandle, &lReceivedValue, 0);

	}

  /* USER CODE END StartTxTask */
}

void StartCmdTask(void *argument)
{
  /* USER CODE BEGIN StartCmdTask */

    /* Infinite loop */
    for (;;)
	{
	if( xSemaphoreTake( myCountNewCmdHandle, osWaitForever)==pdPASS)
	    {
	    TD_LINEOBJ line;

	    dbase_LoadQueue(myCmdLineObjQueueHandle, &line);

	    term_qPrintf(myTxQueueHandle, "\r<%s\parse:> %s]", line.filename, line.string);
	   // term_qPrintf(myTxQueueHandle, "\r<%s/%s> %s [%s]", line.filename, line.header, line.string, line.postfix);
	    term_lol_parse(&line);

	    }
	}
  /* USER CODE END StartCmdTask */
}

void StartLogUartTask(void *argument)
{
  /* USER CODE BEGIN StartLogUartTask */
  /* Infinite loop */
  osStatus_t val;
  for(;;)
  {
    TD_LINEOBJ line = {0};

   val = osMessageQueueGet(myLogLineObjQueueHandle, &line, NULL, osWaitForever) ;

   switch(val)
       {
   case osOK:
       term_vprintLineObj(myTxQueueHandle, &line);
       dbase_StoreSD( &line);
       }
  }
  /* USER CODE END StartLogUartTask */
}

void StartLogSdTask(void *argument)
{
  for(;;)
  {
    osDelay(1);
  }
}

void StartFlowHotTask(void *argument)
{
  /* USER CODE BEGIN StartFlowHotTask */
  /* Infinite loop */
 	   // myTimerFlowHotHandle = osTimerNew(myTimerFlowHotHandle, osTimerOnce, &flowhot.timeout, NULL);

 	   // osTimerStart(myTimerFlowHotHandle, flowhot.TicksTimeout);

  for(;;)
  {
      osStatus_t var;

     if( xSemaphoreTake( myFlagNewEdgeFlowHotHandle, FLOW_TIMEOUT_FLOWMETER)==pdPASS)
     	    {
	    if (flowhot.RevsSession == 0)
		{
		modflag_timediff(&mf_systick, NULL);
		}
	    flowhot.RevsSession++;

     	    }
	 else if ( flowhot.RevsSession > 0)
 	    {
		modflag_timediff(&mf_systick, &flowhot.TimeWtf);

 		TD_LINEOBJ line = {0};
 		//volatile int tdsize = sizeof(line);

 		//modflag_tickdiff(&mf_systick);

 		line.value = (float)flowhot.RevsSession;
 		dbase_Make(&line, strdup("flowhot"), 0, strdup("LAST"), strdup("Litr"), 0, 0);
 		var = osMessageQueuePut(myLogLineObjQueueHandle, &line, 0, 200);

 		memset(&line, 0, sizeof(line));
 		line.value = (float)flowhot.RevsOdo;
 		dbase_Make(&line, strdup("flowhot"), 0, strdup("TANK"), strdup("Litr"), 0, 0);
 		var = osMessageQueuePut(mySDwriteBufferLineObjQueueHandle, &line, 0, 200);

 		memset(&line, 0, sizeof(line));
 		line.value = flowhot.TimeWtf;
 		dbase_Make(&line, strdup("flowhot"), 0, strdup("FLOW"), strdup("Sek"), 0, 0);
 		var = osMessageQueuePut(myLogLineObjQueueHandle, &line, 0, 200);

/*
 		line.value = (float)mf_systick.tickdiff;
 		dbase_Make(&line, strdup("flowhot"), 0, strdup("lap"), strdup("ms"), 0, 0);
 		var = osMessageQueuePut(myLogLineObjQueueHandle, &line, 0, 200);
*/
 		flowhot.RevsOdo += flowhot.RevsSession;

 		flowhot.RevsSession = 0;

 	    }
    	  //

    	  //  dbase_LoadQueue(myCmdLineObjQueueHandle, &line);
    	  //  term_qPrintf(myTxQueueHandle, "\r<%s\parse:> %s]", line.filename, line.string);

  }
  /* USER CODE END StartFlowHotTask */
}

void StartFlowColdTask(void *argument)
{
  for(;;)
  {
    osDelay(1);
  }
}

/* myCallbackFlowHot function */
void myCallbackFlowHot(void *argument)
{
  /* USER CODE BEGIN myCallbackFlowHot */
    //timeoutflag is set
   argument = (int*)1;
  /* USER CODE END myCallbackFlowHot */
}

/************************ (C) COPYRIGHT STMicroelectronics *****END OF FILE****/
